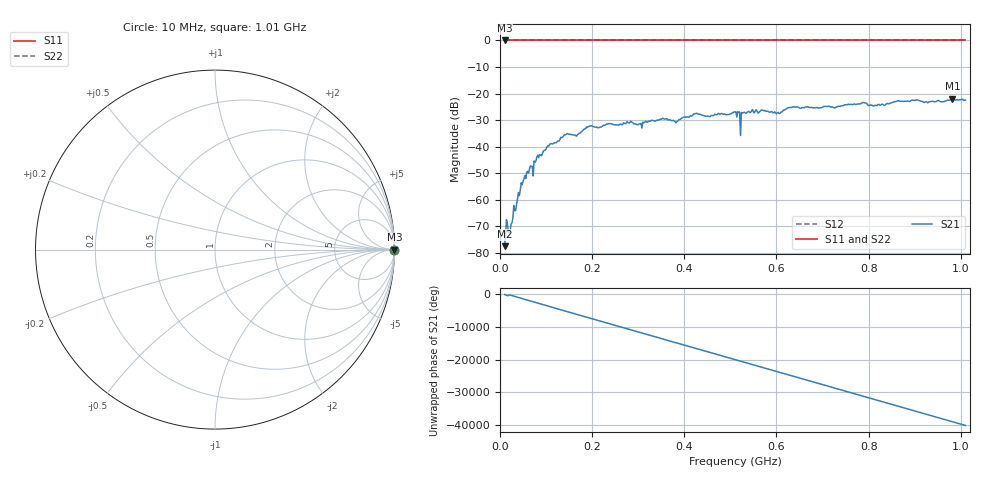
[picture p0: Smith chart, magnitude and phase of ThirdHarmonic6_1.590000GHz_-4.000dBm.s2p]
! 8/16/2025 6:56:10 PM
! C:\ANRITSUVNA\TEMP\TEMP.S2P
! CHANNEL.1
! TR.MEASUREMENT
! RAW.DATA
! RF.CORRECTION.OFF
! AVERAGING.OFF
! IF.BANDWIDTH: 5KHZ
! SWEEPTYPE:  FREQ.SWEEP(Linear)
! Reference Plane Port Info
! PORT:  PORT1  PORT2
! DISTANCE:  0  m  0  m
! TIME:  0  s  0  s
! PHASE.OFFSET:  0  deg.  0  deg.
! LOSS:  0  dB  0  dB
! REF.LOSS:  0  dB  0  dB
! REF.FREQ:  0  Hz  0  Hz
! Power Info
! POWER:  -20  dBm  -20  dBm
! EFF.POWER:  -20  dBm  -20  dBm
! SOURCE.ATTEN:  0  dB  0  dB
! TEST.ATTEN:  0  dB  0  dB
# GHZ S RI R 50.0
! FREQ.GHZ  S11RE  S11IM  S21RE  S21IM  S12RE  S12IM  S22RE  S22IM
!; PortSelection: Port_12
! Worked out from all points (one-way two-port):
!   501 points, 10 MHz to 1.01 GHz, reference 50 ohm
!   highest |S21| = -22.00 dB at 982 MHz (marker M1); lowest = -77.5 dB at 10 MHz (marker M2)
!   lowest |S11| = 0.0 dB at 10 MHz (marker M3)
!   |S11| at or under -10 dB: nowhere
!   |S22| runs from 0.0 to 0.0 dB; largest |S21 - S12| = 1.1
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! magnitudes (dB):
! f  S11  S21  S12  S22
! 10 MHz  0.0  -77.5  0.0  0.0
! 16 MHz  0.0  -69.1  0.0  0.0
! 24 MHz  0.0  -69.2  0.0  0.0
! 50 MHz  0.0  -53.1  0.0  0.0
! 78 MHz  0.0  -45.4  0.0  0.0
! 106 MHz  0.0  -39.8  0.0  0.0
! 142 MHz  0.0  -35.6  0.0  0.0
! 178 MHz  0.0  -34.2  0.0  0.0
! 196 MHz  0.0  -32.2  0.0  0.0
! 344 MHz  0.0  -30.0  0.0  0.0
! 382 MHz  0.0  -31.1  0.0  0.0
! 424 MHz  0.0  -27.6  0.0  0.0
! 510 MHz  0.0  -26.9  0.0  0.0
! 516 MHz  0.0  -26.8  0.0  0.0
! 518 MHz  0.0  -27.1  0.0  0.0
! 544 MHz  0.0  -27.1  0.0  0.0
! 604 MHz  0.0  -27.1  0.0  0.0
! 634 MHz  0.0  -25.1  0.0  0.0
! 678 MHz  0.0  -25.3  0.0  0.0
! 844 MHz  0.0  -23.9  0.0  0.0
! 982 MHz  0.0  -22.0  0.0  0.0
! 1.01 GHz  0.0  -22.4  0.0  0.0
